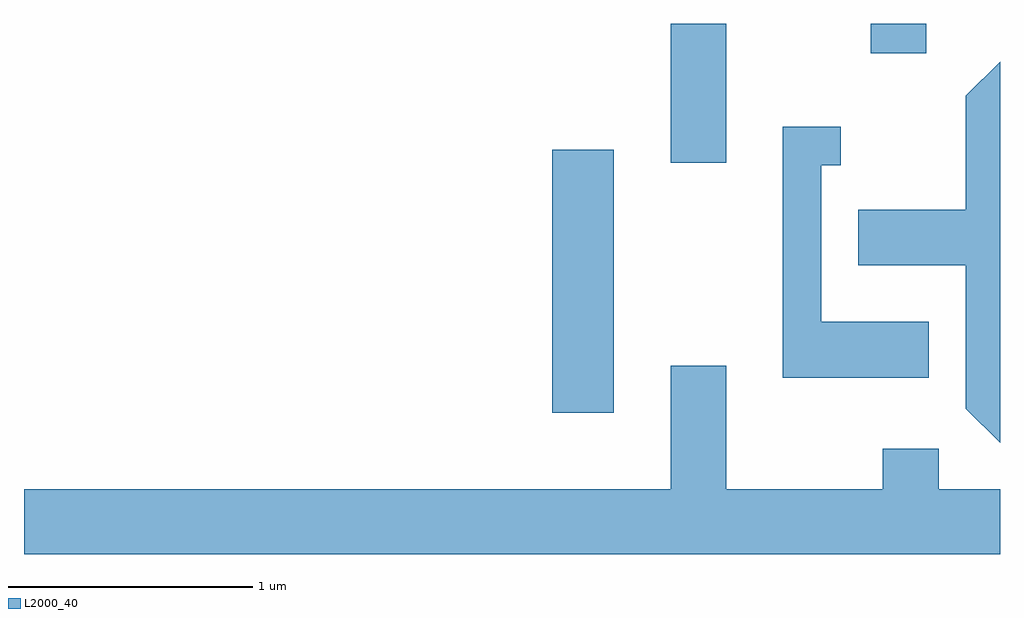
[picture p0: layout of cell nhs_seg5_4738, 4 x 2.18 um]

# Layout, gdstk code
import gdstk
lib = gdstk.Library(unit=1e-6, precision=1e-09)
def R(c, l, rs):  # rectangles x0, y0, x1, y1
    for r in rs: c.add(gdstk.rectangle(r[:2], r[2:], *l))
def P(c, l, *ps):  # polygons
    for p in ps: c.add(gdstk.Polygon(p, *l))
L2000_40 = (2000, 40)

nhs_seg5_4738 = lib.new_cell('nhs_seg5_4738')
R(nhs_seg5_4738, L2000_40, [(327.776,1468.476,328.029,1469.554), (328.261,1469.501,328.489,1470.072), (329.081,1469.951,329.309,1470.072)])
P(nhs_seg5_4738, L2000_40, [(329.611,1469.916),(329.471,1469.777),(329.471,1469.309),(329.031,1469.309),(329.031,1469.081),(329.471,1469.081),(329.471,1468.494),(329.611,1468.354)],
  [(329.319,1468.849),(328.879,1468.849),(328.879,1469.491),(328.958,1469.491),(328.958,1469.649),(328.721,1469.649),(328.721,1468.621),(329.319,1468.621)],
  [(329.611,1468.164),(329.359,1468.164),(329.359,1468.329),(329.131,1468.329),(329.131,1468.164),(328.489,1468.164),(328.489,1468.669),(328.261,1468.669),(328.261,1468.164),(325.611,1468.164),(325.611,1467.896),(329.611,1467.896)])

lib.write_gds('nhs_seg5_4738.gds')
